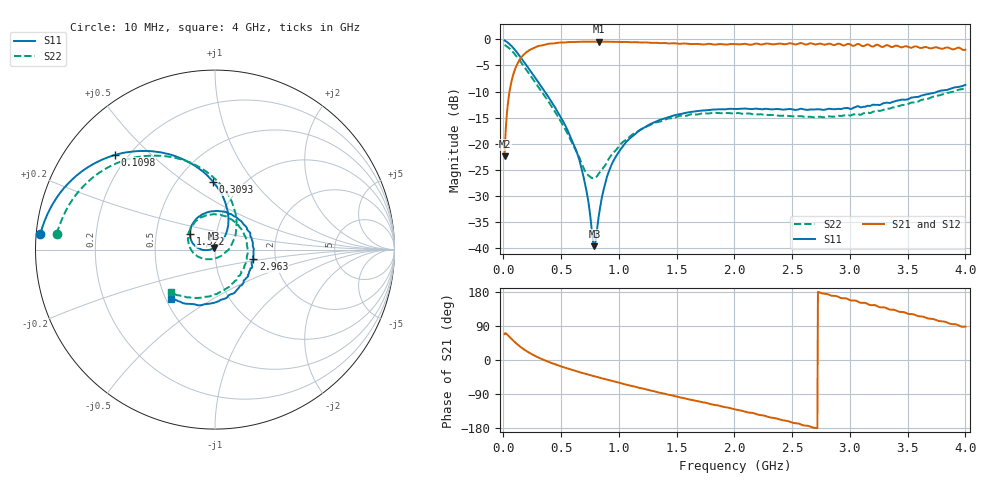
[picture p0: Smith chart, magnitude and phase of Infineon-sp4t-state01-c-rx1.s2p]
! 5/5/2016 5:06:18 PM
! C:\ANRITSUVNA\DATA\INFINEON-SP4T-STATE01-C-RX1.S2P
! CHANNEL.1
! TR.MEASUREMENT
! CORRECTED.DATA
# GHZ S RI R 50.0
! FREQ.GHZ  S11RE  S11IM  S21RE  S21IM  S12RE  S12IM  S22RE  S22IM
!; PortSelection: Port_12
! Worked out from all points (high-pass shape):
!   801 points, 10 MHz to 4 GHz, reference 50 ohm
!   highest |S21| = -0.43 dB at 828 MHz (marker M1); lowest = -22.4 dB at 10 MHz (marker M2)
!   |S21| within 3 dB of the highest: 155.8 MHz to end of sweep
!   lowest |S11| = -39.6 dB at 788 MHz (marker M3), VSWR 1.02, Z = 49.5 + j0.885 ohm
!   |S11| at or under -10 dB: 358.3 MHz to 3.759 GHz (3.4 GHz wide, 165 % of centre)
!   |S22| runs from -26.6 to -1.0 dB; largest |S21 - S12| = 0.021
!   S11 on the Smith chart (normalised r, x): 10 MHz: 0.01, +0.05; 109.8 MHz: 0.15, +0.39; 309.2 MHz: 0.74, +0.65; 1.322 GHz: 0.75, +0.13; 2.963 GHz: 1.53, -0.17; 4 GHz: 0.53, -0.34
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0.01  -0.9732 0.0878  0.0279 0.0707  0.0269 0.0706  -0.8828 0.0895
0.0548875  -0.8187 0.3676  0.1625 0.2846  0.1623 0.2844  -0.7321 0.354
0.10975  -0.5582 0.5273  0.3949 0.383  0.3947 0.3832  -0.4778 0.5057
0.2045125  -0.2047 0.5143  0.7033 0.293  0.7029 0.2937  -0.1335 0.4831
0.30925  -0.0111 0.3779  0.8633 0.0831  0.8644 0.0852  0.0509 0.338
0.538675  0.0722 0.1283  0.8767 -0.3297  0.876 -0.3313  0.1127 0.0754
0.678325  0.0362 0.0433  0.7889 -0.527  0.7892 -0.5274  0.0632 -0.0112
0.78805  -0.00538 0.00894  0.6949 -0.6494  0.6948 -0.6495  0.0112 -0.0454
0.82795  -0.0211 0.0019  0.6563 -0.6895  0.6555 -0.6884  -0.00792 -0.0517
0.8927875  -0.0465 -0.00277  0.5902 -0.745  0.5897 -0.7449  -0.0382 -0.0532
0.9825625  -0.0785 0.00158  0.4925 -0.8095  0.4911 -0.8083  -0.0757 -0.0475
1.092288  -0.1102 0.02  0.3648 -0.8659  0.3675 -0.8646  -0.1139 -0.0245
1.321713  -0.1394 0.0848  0.0963 -0.9245  0.0981 -0.9271  -0.1509 0.0531
1.341662  -0.14 0.0907  0.0732 -0.9217  0.0738 -0.9233  -0.1507 0.0597
1.675825  -0.0853 0.1867  -0.2834 -0.8592  -0.2793 -0.8614  -0.0945 0.1655
2.005  0.0267 0.2136  -0.5828 -0.6862  -0.5759 -0.6982  0.0208 0.1951
2.359113  0.1435 0.1605  -0.8121 -0.3967  -0.8234 -0.3937  0.1301 0.1359
2.673325  0.2053 0.0555  -0.9124 -0.0358  -0.9092 -0.0343  0.1774 0.0303
2.9626  0.2134 -0.052  -0.8474 0.2606  -0.852 0.26  0.1699 -0.0775
3.336663  0.1422 -0.2006  -0.6026 0.627  -0.5972 0.6349  0.0864 -0.1984
3.750625  -0.0661 -0.3068  -0.216 0.8115  -0.2192 0.8035  -0.1014 -0.2697
4  -0.2445 -0.273  0.0275 0.7968  0.045 0.7871  -0.2446 -0.238
